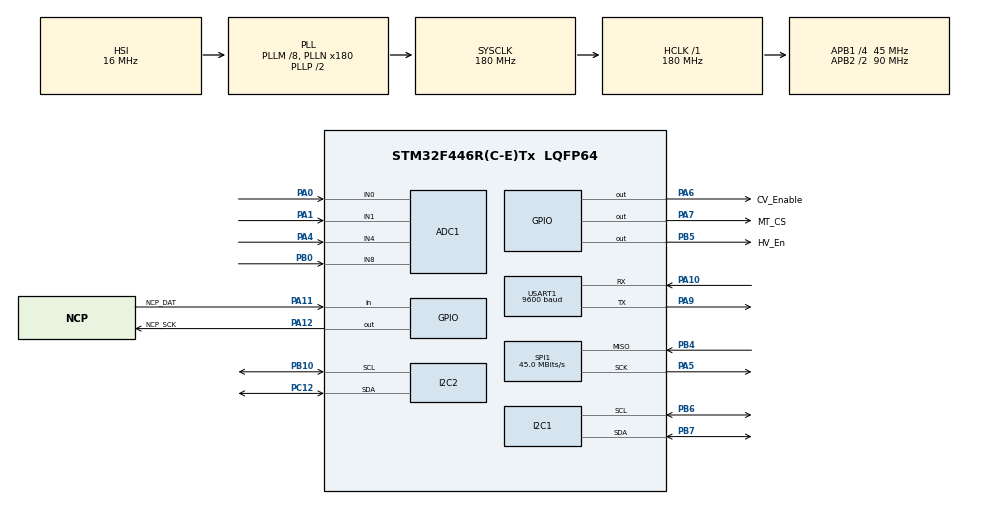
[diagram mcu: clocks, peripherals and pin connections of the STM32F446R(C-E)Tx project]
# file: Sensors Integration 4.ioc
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ADC1.Channel-0\#ChannelRegularConversion=ADC_CHANNEL_0
ADC1.Channel-1\#ChannelRegularConversion=ADC_CHANNEL_1
ADC1.Channel-2\#ChannelRegularConversion=ADC_CHANNEL_4
ADC1.Channel-3\#ChannelRegularConversion=ADC_CHANNEL_8
ADC1.ClockPrescaler=ADC_CLOCK_SYNC_PCLK_DIV8
ADC1.ContinuousConvMode=ENABLE
ADC1.DMAContinuousRequests=ENABLE
ADC1.NbrOfConversion=4
ADC1.NbrOfConversionFlag=1
ADC1.Rank-0\#ChannelRegularConversion=1
ADC1.Rank-1\#ChannelRegularConversion=2
ADC1.Rank-2\#ChannelRegularConversion=3
ADC1.Rank-3\#ChannelRegularConversion=4
ADC1.SamplingTime-0\#ChannelRegularConversion=ADC_SAMPLETIME_3CYCLES
ADC1.SamplingTime-1\#ChannelRegularConversion=ADC_SAMPLETIME_3CYCLES
ADC1.SamplingTime-2\#ChannelRegularConversion=ADC_SAMPLETIME_3CYCLES
ADC1.SamplingTime-3\#ChannelRegularConversion=ADC_SAMPLETIME_3CYCLES
ADC1.ScanConvMode=ENABLE
ADC1.master=1
Dma.ADC1.0.Direction=DMA_PERIPH_TO_MEMORY
Dma.ADC1.0.FIFOMode=DMA_FIFOMODE_DISABLE
Dma.ADC1.0.Instance=DMA2_Stream0
Dma.ADC1.0.MemDataAlignment=DMA_MDATAALIGN_HALFWORD
Dma.ADC1.0.MemInc=DMA_MINC_ENABLE
Dma.ADC1.0.Mode=DMA_CIRCULAR
Dma.ADC1.0.PeriphDataAlignment=DMA_PDATAALIGN_HALFWORD
Dma.ADC1.0.PeriphInc=DMA_PINC_DISABLE
Dma.ADC1.0.Priority=DMA_PRIORITY_LOW
Dma.Request0=ADC1
Mcu.Family=STM32F4
Mcu.Name=STM32F446R(C-E)Tx
Mcu.Package=LQFP64
NVIC.DMA2_Stream0_IRQn=true\:0\:0\:false\:false\:true\:false\:true\:true
NVIC.PriorityGroup=NVIC_PRIORITYGROUP_4
NVIC.RCC_IRQn=true\:0\:0\:false\:false\:true\:true\:false\:true
NVIC.USART1_IRQn=true\:0\:0\:false\:false\:true\:true\:true\:true
PA0-WKUP.Signal=ADCx_IN0
PA1.Signal=ADCx_IN1
PA10.Mode=Asynchronous
PA10.Signal=USART1_RX
PA11.GPIO_Label=NCP_DAT
PA11.Signal=GPIO_Input
PA12.GPIO_Label=NCP_SCK
PA12.Signal=GPIO_Output
PA4.Signal=ADCx_IN4
PA5.Mode=RX_Only_Simplex_Unidirect_Master
PA5.Signal=SPI1_SCK
PA6.GPIO_Label=CV_Enable
PA6.GPIO_PuPd=GPIO_PULLDOWN
PA6.Signal=GPIO_Output
PA7.GPIO_Label=MT_CS
PA7.Signal=GPIO_Output
PA9.Mode=Asynchronous
PA9.Signal=USART1_TX
PB0.Signal=ADCx_IN8
PB10.Mode=I2C
PB10.Signal=I2C2_SCL
PB4.Mode=RX_Only_Simplex_Unidirect_Master
PB4.Signal=SPI1_MISO
PB5.GPIO_Label=HV_En
PB5.Signal=GPIO_Output
PB6.Mode=I2C
PB6.Signal=I2C1_SCL
PB7.Mode=I2C
PB7.Signal=I2C1_SDA
PC12.Mode=I2C
PC12.Signal=I2C2_SDA
PC14-OSC32_IN.Mode=LSE-External-Oscillator
PC14-OSC32_IN.Signal=RCC_OSC32_IN
PC15-OSC32_OUT.Mode=LSE-External-Oscillator
PC15-OSC32_OUT.Signal=RCC_OSC32_OUT
PH0-OSC_IN.Mode=HSE-External-Oscillator
PH0-OSC_IN.Signal=RCC_OSC_IN
PH1-OSC_OUT.Mode=HSE-External-Oscillator
PH1-OSC_OUT.Signal=RCC_OSC_OUT
ProjectManager.HeapSize=0x400
ProjectManager.StackSize=0x800
ProjectManager.TargetToolchain=STM32CubeIDE
RCC.AHBFreq_Value=180000000
RCC.APB1CLKDivider=RCC_HCLK_DIV4
RCC.APB1Freq_Value=45000000
RCC.APB1TimFreq_Value=90000000
RCC.APB2CLKDivider=RCC_HCLK_DIV2
RCC.APB2Freq_Value=90000000
RCC.APB2TimFreq_Value=180000000
RCC.CortexFreq_Value=180000000
RCC.HCLKFreq_Value=180000000
RCC.HSE_VALUE=8000000
RCC.PLLM=8
RCC.PLLN=180
RCC.SYSCLKFreq_VALUE=180000000
RCC.SYSCLKSource=RCC_SYSCLKSOURCE_PLLCLK
RCC.USBFreq_Value=180000000
RCC.VCOOutputFreq_Value=360000000
SH.ADCx_IN0.0=ADC1_IN0,IN0
SH.ADCx_IN1.0=ADC1_IN1,IN1
SH.ADCx_IN4.0=ADC1_IN4,IN4
SH.ADCx_IN8.0=ADC1_IN8,IN8
SPI1.CalculateBaudRate=45.0 MBits/s
SPI1.Direction=SPI_DIRECTION_2LINES_RXONLY
SPI1.Mode=SPI_MODE_MASTER
SPI1.VirtualType=VM_MASTER
TIM1.Prescaler=45000
USART1.BaudRate=9600
USART1.VirtualMode=VM_ASYNC
VP_TIM1_VS_ClockSourceINT.Mode=Internal
board=custom

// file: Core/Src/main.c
/* USER CODE BEGIN Header */
/**
  ******************************************************************************
  * @file           : main.c
  * @brief          : Main program body
  ******************************************************************************
  * @attention
  *
  * Copyright (c) 2023 STMicroelectronics.
  * All rights reserved.
  *
  * This software is licensed under terms that can be found in the LICENSE file
  * in the root directory of this software component.
  * If no LICENSE file comes with this software, it is provided AS-IS.
  *
  ******************************************************************************
  */
/* USER CODE END Header */
#include "main.h"

/* USER CODE BEGIN Includes */
#include <stdbool.h>
#include "mpu6050.h"
#include "MAX6675.h"
#include "uartRingBuffer.h"
#include "NMEA.h"
#include "BMP180.h"
#include "HX710B.h"
/* USER CODE END Includes */

/* USER CODE BEGIN PD */
#define CV_En_Pin GPIO_PIN_6
/* USER CODE END PD */

ADC_HandleTypeDef hadc1;
DMA_HandleTypeDef hdma_adc1;

I2C_HandleTypeDef hi2c1;
I2C_HandleTypeDef hi2c2;

SPI_HandleTypeDef hspi1;

TIM_HandleTypeDef htim1;

extern UART_HandleTypeDef huart1;

/* USER CODE BEGIN PV */
float Ax, Ay, Az, Gx, Gy, Gz;

uint8_t err_gyro = 0;

float CpmVoltage = 0.0;
float HVoltage = 0.0;
bool En_Voltage_ui=0;

float temperature;
uint16_t timer_val=0;

uint16_t dmaOut[4];

//Barometer_Sensor
float Temperature2;
float Pressure;
float Altitude;

//current_sensor 5A
uint16_t readValue5;
float rawVoltage5;
float current5;
float sensitivity5 = 0.185;
float adc_err5=1.052;

//current_sensor 20A
uint16_t readValue20;
float rawVoltage20;
float current20;
float sensitivity20 = 0.1;
float adc_err20=1.052;

//GPS Data
char GGA[100];
char RMC[100];

GPSSTRUCT gpsData;

//Nose Cone Pressure
uint16_t NCPressure=0;
/* USER CODE END PV */

void SystemClock_Config(void);
static void MX_GPIO_Init(void);
static void MX_DMA_Init(void);
static void MX_ADC1_Init(void);
static void MX_SPI1_Init(void);
static void MX_TIM1_Init(void);
static void MX_USART1_UART_Init(void);
static void MX_I2C1_Init(void);
static void MX_I2C2_Init(void);

int main(void)
{

  /* MCU Configuration--------------------------------------------------------*/

  /* Reset of all peripherals, Initializes the Flash interface and the Systick. */
  HAL_Init();

  /* Configure the system clock */
  SystemClock_Config();

  /* Initialize all configured peripherals */
  MX_GPIO_Init();
  MX_DMA_Init();
  MX_ADC1_Init();
  MX_SPI1_Init();
  MX_TIM1_Init();
  MX_USART1_UART_Init();
  MX_I2C1_Init();
  MX_I2C2_Init();
  /* USER CODE BEGIN 2 */
  HAL_ADC_Init(&hadc1);
  MPU6050_Init();
  HAL_ADC_Start_DMA(&hadc1, dmaOut, 4);
  BMP180_Start();

  Ringbuf_init();
  HAL_Delay(500);

  void current_sensor5()
  {
  	  readValue5 = dmaOut[1];
  	  rawVoltage5 = ((float) readValue5 * 3.3) / 4095 *adc_err5;
  	  current5 =(1 - rawVoltage5)/sensitivity5;
  }

  void current_sensor20()
  {
  	  readValue20 = dmaOut[2];
  	  rawVoltage20 = ((float) readValue20 * 3.3) / 4095 *adc_err20;
  	  current20 =(1 - rawVoltage20)/sensitivity20;
  }

  void barometer_sensor()
  {
  	  Temperature2 = BMP180_GetTemp();
  	  Pressure = BMP180_GetPress(0);
  	  Altitude = BMP180_GetAlt(0);
  }
  /* USER CODE END 2 */

  /* Infinite loop */
  /* USER CODE BEGIN WHILE */
  while (1)
  {
   HAL_Delay(5);
	  if(Wait_for("GGA")==1)
	  {
		  Copy_upto("*", GGA);
		  decodeGGA(GGA, &gpsData.ggastruct);
	  }
	  if (Wait_for("RMC")==1)
	  {
		  Copy_upto("*",RMC);
		  decodeRMC(RMC, &gpsData.rmcstruct);
	  }

	  temperature=Max6675_Read_Temp();
	  barometer_sensor();
	  NCPressure=readHX();

	  current_sensor5();
	  current_sensor20();

	  MPU6050_Read_Accel (&Ax, &Ay, &Az);
	  MPU6050_Read_Gyro(&Gx, &Gy, &Gz);
	  //HAL_Delay(250);

	  HAL_GPIO_WritePin(GPIOA, CV_En_Pin, En_Voltage_ui);
	  CpmVoltage = dmaOut[0]*(5.0/4096.0);
	  HAL_GPIO_WritePin(HV_En_GPIO_Port, HV_En_Pin, En_Voltage_ui);
	  HVoltage=dmaOut[3]*(9.36/4096);

	  HAL_Delay(100);

    /* USER CODE END WHILE */

  }
}

void SystemClock_Config(void)
{
  RCC_OscInitTypeDef RCC_OscInitStruct = {0};
  RCC_ClkInitTypeDef RCC_ClkInitStruct = {0};

  /** Configure the main internal regulator output voltage
  */
  __HAL_RCC_PWR_CLK_ENABLE();
  __HAL_PWR_VOLTAGESCALING_CONFIG(PWR_REGULATOR_VOLTAGE_SCALE1);

  /** Initializes the RCC Oscillators according to the specified parameters
  * in the RCC_OscInitTypeDef structure.
  */
  RCC_OscInitStruct.OscillatorType = RCC_OSCILLATORTYPE_HSI;
  RCC_OscInitStruct.HSIState = RCC_HSI_ON;
  RCC_OscInitStruct.HSICalibrationValue = RCC_HSICALIBRATION_DEFAULT;
  RCC_OscInitStruct.PLL.PLLState = RCC_PLL_ON;
  RCC_OscInitStruct.PLL.PLLSource = RCC_PLLSOURCE_HSI;
  RCC_OscInitStruct.PLL.PLLM = 8;
  RCC_OscInitStruct.PLL.PLLN = 180;
  RCC_OscInitStruct.PLL.PLLP = RCC_PLLP_DIV2;
  RCC_OscInitStruct.PLL.PLLQ = 2;
  RCC_OscInitStruct.PLL.PLLR = 2;
  if (HAL_RCC_OscConfig(&RCC_OscInitStruct) != HAL_OK)
  {
    Error_Handler();
  }

  /** Activate the Over-Drive mode
  */
  if (HAL_PWREx_EnableOverDrive() != HAL_OK)
  {
    Error_Handler();
  }

  /** Initializes the CPU, AHB and APB buses clocks
  */
  RCC_ClkInitStruct.ClockType = RCC_CLOCKTYPE_HCLK|RCC_CLOCKTYPE_SYSCLK
                              |RCC_CLOCKTYPE_PCLK1|RCC_CLOCKTYPE_PCLK2;
  RCC_ClkInitStruct.SYSCLKSource = RCC_SYSCLKSOURCE_PLLCLK;
  RCC_ClkInitStruct.AHBCLKDivider = RCC_SYSCLK_DIV1;
  RCC_ClkInitStruct.APB1CLKDivider = RCC_HCLK_DIV4;
  RCC_ClkInitStruct.APB2CLKDivider = RCC_HCLK_DIV2;

  if (HAL_RCC_ClockConfig(&RCC_ClkInitStruct, FLASH_LATENCY_5) != HAL_OK)
  {
    Error_Handler();
  }
}

static void MX_ADC1_Init(void)
{

  ADC_ChannelConfTypeDef sConfig = {0};

  /** Configure the global features of the ADC (Clock, Resolution, Data Alignment and number of conversion)
  */
  hadc1.Instance = ADC1;
  hadc1.Init.ClockPrescaler = ADC_CLOCK_SYNC_PCLK_DIV8;
  hadc1.Init.Resolution = ADC_RESOLUTION_12B;
  hadc1.Init.ScanConvMode = ENABLE;
  hadc1.Init.ContinuousConvMode = ENABLE;
  hadc1.Init.DiscontinuousConvMode = DISABLE;
  hadc1.Init.ExternalTrigConvEdge = ADC_EXTERNALTRIGCONVEDGE_NONE;
  hadc1.Init.ExternalTrigConv = ADC_SOFTWARE_START;
  hadc1.Init.DataAlign = ADC_DATAALIGN_RIGHT;
  hadc1.Init.NbrOfConversion = 4;
  hadc1.Init.DMAContinuousRequests = ENABLE;
  hadc1.Init.EOCSelection = ADC_EOC_SINGLE_CONV;
  if (HAL_ADC_Init(&hadc1) != HAL_OK)
  {
    Error_Handler();
  }

  /** Configure for the selected ADC regular channel its corresponding rank in the sequencer and its sample time.
  */
  sConfig.Channel = ADC_CHANNEL_0;
  sConfig.Rank = 1;
  sConfig.SamplingTime = ADC_SAMPLETIME_3CYCLES;
  if (HAL_ADC_ConfigChannel(&hadc1, &sConfig) != HAL_OK)
  {
    Error_Handler();
  }

  /** Configure for the selected ADC regular channel its corresponding rank in the sequencer and its sample time.
  */
  sConfig.Channel = ADC_CHANNEL_1;
  sConfig.Rank = 2;
  if (HAL_ADC_ConfigChannel(&hadc1, &sConfig) != HAL_OK)
  {
    Error_Handler();
  }

  /** Configure for the selected ADC regular channel its corresponding rank in the sequencer and its sample time.
  */
  sConfig.Channel = ADC_CHANNEL_4;
  sConfig.Rank = 3;
  if (HAL_ADC_ConfigChannel(&hadc1, &sConfig) != HAL_OK)
  {
    Error_Handler();
  }

  /** Configure for the selected ADC regular channel its corresponding rank in the sequencer and its sample time.
  */
  sConfig.Channel = ADC_CHANNEL_8;
  sConfig.Rank = 4;
  if (HAL_ADC_ConfigChannel(&hadc1, &sConfig) != HAL_OK)
  {
    Error_Handler();
  }

}

static void MX_I2C1_Init(void)
{

  hi2c1.Instance = I2C1;
  hi2c1.Init.ClockSpeed = 100000;
  hi2c1.Init.DutyCycle = I2C_DUTYCYCLE_2;
  hi2c1.Init.OwnAddress1 = 0;
  hi2c1.Init.AddressingMode = I2C_ADDRESSINGMODE_7BIT;
  hi2c1.Init.DualAddressMode = I2C_DUALADDRESS_DISABLE;
  hi2c1.Init.OwnAddress2 = 0;
  hi2c1.Init.GeneralCallMode = I2C_GENERALCALL_DISABLE;
  hi2c1.Init.NoStretchMode = I2C_NOSTRETCH_DISABLE;
  if (HAL_I2C_Init(&hi2c1) != HAL_OK)
  {
    Error_Handler();
  }

}

static void MX_I2C2_Init(void)
{

  hi2c2.Instance = I2C2;
  hi2c2.Init.ClockSpeed = 100000;
  hi2c2.Init.DutyCycle = I2C_DUTYCYCLE_2;
  hi2c2.Init.OwnAddress1 = 0;
  hi2c2.Init.AddressingMode = I2C_ADDRESSINGMODE_7BIT;
  hi2c2.Init.DualAddressMode = I2C_DUALADDRESS_DISABLE;
  hi2c2.Init.OwnAddress2 = 0;
  hi2c2.Init.GeneralCallMode = I2C_GENERALCALL_DISABLE;
  hi2c2.Init.NoStretchMode = I2C_NOSTRETCH_DISABLE;
  if (HAL_I2C_Init(&hi2c2) != HAL_OK)
  {
    Error_Handler();
  }

}

static void MX_SPI1_Init(void)
{

  /* SPI1 parameter configuration*/
  hspi1.Instance = SPI1;
  hspi1.Init.Mode = SPI_MODE_MASTER;
  hspi1.Init.Direction = SPI_DIRECTION_2LINES_RXONLY;
  hspi1.Init.DataSize = SPI_DATASIZE_8BIT;
  hspi1.Init.CLKPolarity = SPI_POLARITY_LOW;
  hspi1.Init.CLKPhase = SPI_PHASE_1EDGE;
  hspi1.Init.NSS = SPI_NSS_SOFT;
  hspi1.Init.BaudRatePrescaler = SPI_BAUDRATEPRESCALER_2;
  hspi1.Init.FirstBit = SPI_FIRSTBIT_MSB;
  hspi1.Init.TIMode = SPI_TIMODE_DISABLE;
  hspi1.Init.CRCCalculation = SPI_CRCCALCULATION_DISABLE;
  hspi1.Init.CRCPolynomial = 10;
  if (HAL_SPI_Init(&hspi1) != HAL_OK)
  {
    Error_Handler();
  }

}

static void MX_TIM1_Init(void)
{

  TIM_ClockConfigTypeDef sClockSourceConfig = {0};
  TIM_MasterConfigTypeDef sMasterConfig = {0};

  htim1.Instance = TIM1;
  htim1.Init.Prescaler = 45000;
  htim1.Init.CounterMode = TIM_COUNTERMODE_UP;
  htim1.Init.Period = 65535;
  htim1.Init.ClockDivision = TIM_CLOCKDIVISION_DIV1;
  htim1.Init.RepetitionCounter = 0;
  htim1.Init.AutoReloadPreload = TIM_AUTORELOAD_PRELOAD_DISABLE;
  if (HAL_TIM_Base_Init(&htim1) != HAL_OK)
  {
    Error_Handler();
  }
  sClockSourceConfig.ClockSource = TIM_CLOCKSOURCE_INTERNAL;
  if (HAL_TIM_ConfigClockSource(&htim1, &sClockSourceConfig) != HAL_OK)
  {
    Error_Handler();
  }
  sMasterConfig.MasterOutputTrigger = TIM_TRGO_RESET;
  sMasterConfig.MasterSlaveMode = TIM_MASTERSLAVEMODE_DISABLE;
  if (HAL_TIMEx_MasterConfigSynchronization(&htim1, &sMasterConfig) != HAL_OK)
  {
    Error_Handler();
  }

}

static void MX_USART1_UART_Init(void)
{

  huart1.Instance = USART1;
  huart1.Init.BaudRate = 9600;
  huart1.Init.WordLength = UART_WORDLENGTH_8B;
  huart1.Init.StopBits = UART_STOPBITS_1;
  huart1.Init.Parity = UART_PARITY_NONE;
  huart1.Init.Mode = UART_MODE_TX_RX;
  huart1.Init.HwFlowCtl = UART_HWCONTROL_NONE;
  huart1.Init.OverSampling = UART_OVERSAMPLING_16;
  if (HAL_UART_Init(&huart1) != HAL_OK)
  {
    Error_Handler();
  }

}

static void MX_DMA_Init(void)
{

  /* DMA controller clock enable */
  __HAL_RCC_DMA2_CLK_ENABLE();

  /* DMA interrupt init */
  /* DMA2_Stream0_IRQn interrupt configuration */
  HAL_NVIC_SetPriority(DMA2_Stream0_IRQn, 0, 0);
  HAL_NVIC_EnableIRQ(DMA2_Stream0_IRQn);

}

static void MX_GPIO_Init(void)
{
  GPIO_InitTypeDef GPIO_InitStruct = {0};

  /* GPIO Ports Clock Enable */
  __HAL_RCC_GPIOC_CLK_ENABLE();
  __HAL_RCC_GPIOH_CLK_ENABLE();
  __HAL_RCC_GPIOA_CLK_ENABLE();
  __HAL_RCC_GPIOB_CLK_ENABLE();

  /*Configure GPIO pin Output Level */
  HAL_GPIO_WritePin(GPIOA, CV_Enable_Pin|MT_CS_Pin|NCP_SCK_Pin, GPIO_PIN_RESET);

  /*Configure GPIO pin Output Level */
  HAL_GPIO_WritePin(HV_En_GPIO_Port, HV_En_Pin, GPIO_PIN_RESET);

  /*Configure GPIO pin : CV_Enable_Pin */
  GPIO_InitStruct.Pin = CV_Enable_Pin;
  GPIO_InitStruct.Mode = GPIO_MODE_OUTPUT_PP;
  GPIO_InitStruct.Pull = GPIO_PULLDOWN;
  GPIO_InitStruct.Speed = GPIO_SPEED_FREQ_LOW;
  HAL_GPIO_Init(CV_Enable_GPIO_Port, &GPIO_InitStruct);

  /*Configure GPIO pins : MT_CS_Pin NCP_SCK_Pin */
  GPIO_InitStruct.Pin = MT_CS_Pin|NCP_SCK_Pin;
  GPIO_InitStruct.Mode = GPIO_MODE_OUTPUT_PP;
  GPIO_InitStruct.Pull = GPIO_NOPULL;
  GPIO_InitStruct.Speed = GPIO_SPEED_FREQ_LOW;
  HAL_GPIO_Init(GPIOA, &GPIO_InitStruct);

  /*Configure GPIO pin : NCP_DAT_Pin */
  GPIO_InitStruct.Pin = NCP_DAT_Pin;
  GPIO_InitStruct.Mode = GPIO_MODE_INPUT;
  GPIO_InitStruct.Pull = GPIO_NOPULL;
  HAL_GPIO_Init(NCP_DAT_GPIO_Port, &GPIO_InitStruct);

  /*Configure GPIO pin : HV_En_Pin */
  GPIO_InitStruct.Pin = HV_En_Pin;
  GPIO_InitStruct.Mode = GPIO_MODE_OUTPUT_PP;
  GPIO_InitStruct.Pull = GPIO_NOPULL;
  GPIO_InitStruct.Speed = GPIO_SPEED_FREQ_LOW;
  HAL_GPIO_Init(HV_En_GPIO_Port, &GPIO_InitStruct);

}

/* USER CODE BEGIN 4 */
int _write(int file, char *ptr, int len)
{
	int DataIdx;

	for (DataIdx = 0; DataIdx < len; DataIdx++)
	{
		ITM_SendChar(*ptr++);
	}
	return len;
}
/* USER CODE END 4 */

void Error_Handler(void)
{
  __disable_irq();
  while (1)
  {
  }
}
